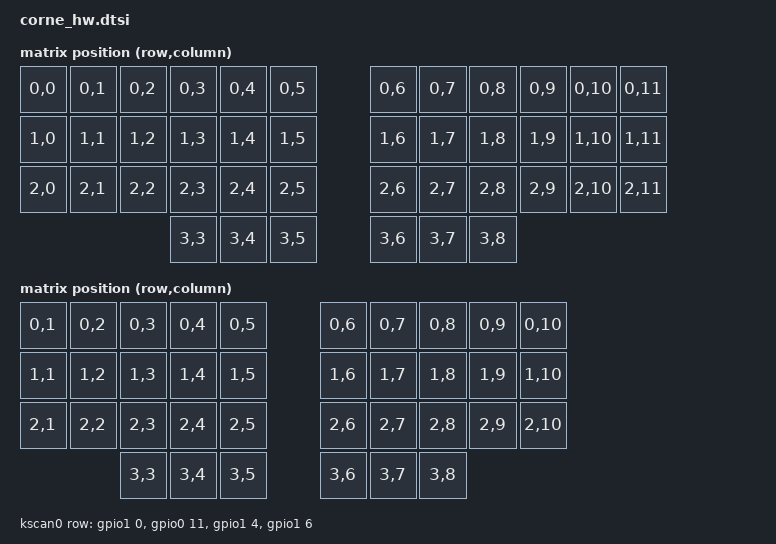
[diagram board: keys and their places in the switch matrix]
/*
 * Copyright (c) 2020 The ZMK Contributors
 *
 * SPDX-License-Identifier: MIT
 */

#include <dt-bindings/zmk/matrix_transform.h>
#include <dt-bindings/pinctrl/nrf-pinctrl.h>

#include <layouts/foostan/corne/5column.dtsi>
#include <physical_layouts.dtsi>

/ {
    foostan_corne_6col_layout: foostan_corne_6col_layout {
        compatible = "zmk,physical-layout";
        display-name = "6 Column";

        keys  //                     w   h    x    y     rot    rx    ry
            = <&key_physical_attrs 100 100    0   37       0     0     0>
            , <&key_physical_attrs 100 100  100   37       0     0     0>
            , <&key_physical_attrs 100 100  200   12       0     0     0>
            , <&key_physical_attrs 100 100  300    0       0     0     0>
            , <&key_physical_attrs 100 100  400   12       0     0     0>
            , <&key_physical_attrs 100 100  500   24       0     0     0>
            , <&key_physical_attrs 100 100  800   24       0     0     0>
            , <&key_physical_attrs 100 100  900   12       0     0     0>
            , <&key_physical_attrs 100 100 1000    0       0     0     0>
            , <&key_physical_attrs 100 100 1100   12       0     0     0>
            , <&key_physical_attrs 100 100 1200   37       0     0     0>
            , <&key_physical_attrs 100 100 1300   37       0     0     0>

            , <&key_physical_attrs 100 100    0  137       0     0     0>
            , <&key_physical_attrs 100 100  100  137       0     0     0>
            , <&key_physical_attrs 100 100  200  112       0     0     0>
            , <&key_physical_attrs 100 100  300  100       0     0     0>
            , <&key_physical_attrs 100 100  400  112       0     0     0>
            , <&key_physical_attrs 100 100  500  124       0     0     0>
            , <&key_physical_attrs 100 100  800  124       0     0     0>
            , <&key_physical_attrs 100 100  900  112       0     0     0>
            , <&key_physical_attrs 100 100 1000  100       0     0     0>
            , <&key_physical_attrs 100 100 1100  112       0     0     0>
            , <&key_physical_attrs 100 100 1200  137       0     0     0>
            , <&key_physical_attrs 100 100 1300  137       0     0     0>
            
            , <&key_physical_attrs 100 100    0  237       0     0     0>
            , <&key_physical_attrs 100 100  100  237       0     0     0>
            , <&key_physical_attrs 100 100  200  212       0     0     0>
            , <&key_physical_attrs 100 100  300  200       0     0     0>
            , <&key_physical_attrs 100 100  400  212       0     0     0>
            , <&key_physical_attrs 100 100  500  224       0     0     0>
            , <&key_physical_attrs 100 100  800  224       0     0     0>
            , <&key_physical_attrs 100 100  900  212       0     0     0>
            , <&key_physical_attrs 100 100 1000  200       0     0     0>
            , <&key_physical_attrs 100 100 1100  212       0     0     0>
            , <&key_physical_attrs 100 100 1200  237       0     0     0>
            , <&key_physical_attrs 100 100 1300  237       0     0     0>

            , <&key_physical_attrs 100 100    0  337       0     0     0>
            , <&key_physical_attrs 100 100  100  337       0     0     0>
            , <&key_physical_attrs 100 100  200  312       0     0     0>
            , <&key_physical_attrs 100 100  300  300       0     0     0>
            , <&key_physical_attrs 100 100  400  312       0     0     0>
            , <&key_physical_attrs 100 100  500  324       0     0     0>
            , <&key_physical_attrs 100 100  800  324       0     0     0>
            , <&key_physical_attrs 100 100  900  312       0     0     0>
            , <&key_physical_attrs 100 100 1000  300       0     0     0>
            , <&key_physical_attrs 100 100 1100  312       0     0     0>
            , <&key_physical_attrs 100 100 1200  337       0     0     0>
            , <&key_physical_attrs 100 100 1300  337       0     0     0>

            , <&key_physical_attrs 100 100    0  437       0     0     0>
            , <&key_physical_attrs 100 100  100  437       0     0     0>
            , <&key_physical_attrs 100 100  200  412       0     0     0>
            , <&key_physical_attrs 100 100  300  400       0     0     0>
            , <&key_physical_attrs 100 100  400  412       0     0     0>
            , <&key_physical_attrs 100 100  500  424       0     0     0>
            , <&key_physical_attrs 100 100  800  424       0     0     0>
            , <&key_physical_attrs 100 100  900  412       0     0     0>
            , <&key_physical_attrs 100 100 1000  400       0     0     0>
            , <&key_physical_attrs 100 100 1100  412       0     0     0>
            , <&key_physical_attrs 100 100 1200  437       0     0     0>
            , <&key_physical_attrs 100 100 1300  437       0     0     0>

            , <&key_physical_attrs 100 100  250  512       0     0     0>
            , <&key_physical_attrs 100 100  350  512       0     0     0>
            , <&key_physical_attrs 100 100  450  512    1200   450   412>
            , <&key_physical_attrs 100 150  548  483    2400   548   433>
            , <&key_physical_attrs 100 150  752  483  (-2400)  852   433>
            , <&key_physical_attrs 100 100  850  512  (-1200)  950   412>
            , <&key_physical_attrs 100 100  950  512       0     0     0>
            , <&key_physical_attrs 100 100  1050  512       0     0     0>
        ;
    };
};

&foostan_corne_5col_layout {
    transform = <&five_column_transform>;
};

/ {
    chosen {
        zmk,kscan = &kscan0;
        zmk,physical-layout = &foostan_corne_6col_layout;
    };

    default_transform: keymap_transform_0 {
        compatible = "zmk,matrix-transform";
        columns = <12>;
        rows = <4>;
        map = <
RC(0,0) RC(0,1) RC(0,2) RC(0,3) RC(0,4) RC(0,5)  RC(0,6) RC(0,7) RC(0,8) RC(0,9) RC(0,10) RC(0,11)
RC(1,0) RC(1,1) RC(1,2) RC(1,3) RC(1,4) RC(1,5)  RC(1,6) RC(1,7) RC(1,8) RC(1,9) RC(1,10) RC(1,11)
RC(2,0) RC(2,1) RC(2,2) RC(2,3) RC(2,4) RC(2,5)  RC(2,6) RC(2,7) RC(2,8) RC(2,9) RC(2,10) RC(2,11)
                        RC(3,3) RC(3,4) RC(3,5)  RC(3,6) RC(3,7) RC(3,8)
        >;
    };

    five_column_transform: keymap_transform_1 {
        compatible = "zmk,matrix-transform";
        columns = <10>;
        rows = <4>;
        map = <
RC(0,1) RC(0,2) RC(0,3) RC(0,4) RC(0,5)  RC(0,6) RC(0,7) RC(0,8) RC(0,9) RC(0,10)
RC(1,1) RC(1,2) RC(1,3) RC(1,4) RC(1,5)  RC(1,6) RC(1,7) RC(1,8) RC(1,9) RC(1,10)
RC(2,1) RC(2,2) RC(2,3) RC(2,4) RC(2,5)  RC(2,6) RC(2,7) RC(2,8) RC(2,9) RC(2,10)
                        RC(3,3) RC(3,4) RC(3,5)  RC(3,6) RC(3,7) RC(3,8)
        >;
    };

    kscan0: kscan {
        compatible = "zmk,kscan-gpio-matrix";
        wakeup-source;
        diode-direction = "row2col";
        
        // Placeholder row definitions - will be overridden in overlay files
        row-gpios
            = <&gpio1 0 (GPIO_ACTIVE_HIGH | GPIO_PULL_DOWN)>  // Row 0
            , <&gpio0 11 (GPIO_ACTIVE_HIGH | GPIO_PULL_DOWN)> // Row 1  
            , <&gpio1 4 (GPIO_ACTIVE_HIGH | GPIO_PULL_DOWN)>  // Row 2
            , <&gpio1 6 (GPIO_ACTIVE_HIGH | GPIO_PULL_DOWN)>  // Row 3
            ;
    };
};

// I2C configuration moved to individual overlay files
// Each side needs its own OLED configuration
